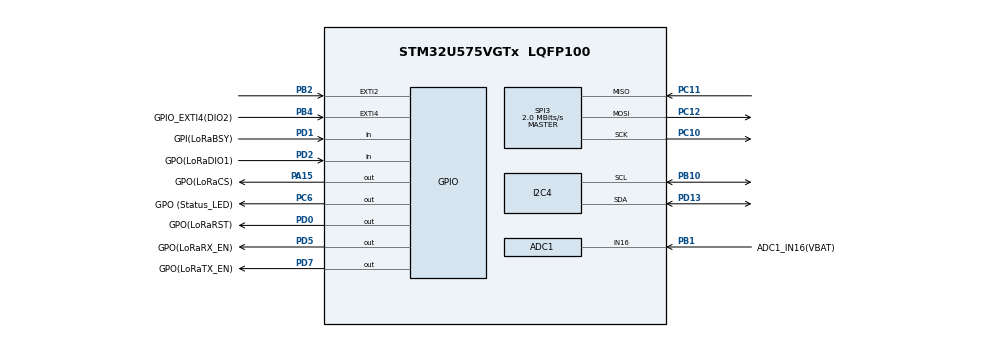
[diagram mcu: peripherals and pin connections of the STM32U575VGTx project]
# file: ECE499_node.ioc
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ADC1.Channel-0\#ChannelRegularConversion=ADC_CHANNEL_16
ADC1.EnableRegularConversion=ENABLE
ADC1.MonitoredBy-0\#ChannelRegularConversion=__NULL
ADC1.NbrOfConversion=1
ADC1.NbrOfConversionFlag=1
ADC1.OffsetNumber-0\#ChannelRegularConversion=ADC_OFFSET_NONE
ADC1.Rank-0\#ChannelRegularConversion=1
ADC1.Ratio1=1
ADC1.SamplingTime-0\#ChannelRegularConversion=ADC_SAMPLETIME_5CYCLE
ADC1.master=1
CORTEX_M33_NS.userName=CORTEX_M33
I2C4.Timing=0x00000E14
LPTIM1.ClockPrescaler=LPTIM_PRESCALER_DIV8
LPTIM1.Period=21845
Mcu.Family=STM32U5
Mcu.Name=STM32U575VGTx
Mcu.Package=LQFP100
NVIC.EXTI2_IRQn=true\:0\:0\:false\:false\:true\:true\:true\:true
NVIC.EXTI4_IRQn=true\:0\:0\:false\:false\:true\:true\:true\:true
NVIC.LPTIM1_IRQn=true\:0\:0\:false\:false\:true\:true\:true\:true
NVIC.PriorityGroup=NVIC_PRIORITYGROUP_4
PA13\ (JTMS/SWDIO).Mode=Serial_Wire
PA13\ (JTMS/SWDIO).Signal=DEBUG_JTMS-SWDIO
PA14\ (JTCK/SWCLK).Mode=Serial_Wire
PA14\ (JTCK/SWCLK).Signal=DEBUG_JTCK-SWCLK
PA15\ (JTDI).GPIO_Label=GPO(LoRaCS)
PA15\ (JTDI).Signal=GPIO_Output
PB1.GPIO_Label=ADC1_IN16(VBAT)
PB1.Mode=IN16-Single-Ended
PB1.Signal=ADC1_IN16
PB10.Mode=I2C
PB10.Signal=I2C4_SCL
PB2.GPIO_ModeDefaultEXTI=GPIO_MODE_IT_FALLING
PB2.Signal=GPXTI2
PB4\ (NJTRST).GPIO_Label=GPIO_EXTI4(DIO2)
PB4\ (NJTRST).GPIO_ModeDefaultEXTI=GPIO_MODE_IT_RISING_FALLING
PB4\ (NJTRST).Signal=GPXTI4
PC10.Mode=Full_Duplex_Master
PC10.Signal=SPI3_SCK
PC11.Mode=Full_Duplex_Master
PC11.Signal=SPI3_MISO
PC12.Mode=Full_Duplex_Master
PC12.Signal=SPI3_MOSI
PC6.GPIO_Label=GPO (Status_LED)
PC6.PinState=GPIO_PIN_SET
PC6.Signal=GPIO_Output
PD0.GPIO_Label=GPO(LoRaRST)
PD0.Signal=GPIO_Output
PD1.GPIO_Label=GPI(LoRaBSY)
PD1.Signal=GPIO_Input
PD13.Mode=I2C
PD13.Signal=I2C4_SDA
PD2.GPIO_Label=GPO(LoRaDIO1)
PD2.Signal=GPIO_Input
PD5.GPIO_Label=GPO(LoRaRX_EN)
PD5.Signal=GPIO_Output
PD7.GPIO_Label=GPO(LoRaTX_EN)
PD7.Signal=GPIO_Output
PWR.DMA2DPowerDownInStopMode=__NULL
PWR.Dcache1PowerDownInStopMode=__NULL
PWR.IcachePowerDownInStopMode=__NULL
PWR.PKA32RAMPowerDownInStopMode=PWR_PKA32RAM_FULL_STOP_RETENTION
ProjectManager.HeapSize=0x200
ProjectManager.StackSize=0x400
ProjectManager.TargetToolchain=CMake
RCC.ADCFreq_Value=16000000
RCC.EPOD_VALUE=4000000
RCC.HSE_VALUE=16000000
RCC.HSI48_VALUE=48000000
RCC.HSI_VALUE=16000000
RCC.LPTIM1CLockSelectionVirtual=RCC_LPTIM1CLKSOURCE_LSI
RCC.LPTIM2CLockSelectionVirtual=RCC_LPTIM2CLKSOURCE_LSI
RCC.LSE_VALUE=32768
RCC.LSIDIV_VALUE=32000
RCC.MSI_VALUE=4000000
RCC.USBFreq_Value=48000000
RCC.VCOOutputFreq_Value=516000000
SPI3.CalculateBaudRate=2.0 MBits/s
SPI3.Direction=SPI_DIRECTION_2LINES
SPI3.Mode=SPI_MODE_MASTER
SPI3.VirtualType=VM_MASTER
VP_DCACHE1_VS_DCACHE.Mode=DCACHE_Activate
VP_ICACHE_VS_ENABLE_ICACHE_MEMORY.Mode=Memoryregions
VP_ICACHE_VS_ICACHE.Mode=DefaultMode
VP_LPBAMQUEUE_VS_QUEUE.Mode=QUEUEMODE
VP_LPBAM_VS_SIG1.Mode=SmartRun
VP_LPBAM_VS_SIG4.Mode=LPDMA1
VP_LPTIM1_VS_LPTIM_counterModeInternalClock.Mode=Counts__internal_clock_event_00
VP_MEMORYMAP_VS_MEMORYMAP.Mode=CurAppReg
VP_PWR_VS_LPOM.Mode=PowerOptimisation
VP_PWR_VS_SECSignals.Mode=Security/Privilege
VP_PWR_Vdda.Mode=isolationVdda
board=custom

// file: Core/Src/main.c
/* USER CODE BEGIN Header */
/**
  ******************************************************************************
  * @file           : main.c
  * @brief          : Main program body
  ******************************************************************************
  * @attention
  *
  * Copyright (c) 2026 STMicroelectronics.
  * All rights reserved.
  *
  * This software is licensed under terms that can be found in the LICENSE file
  * in the root directory of this software component.
  * If no LICENSE file comes with this software, it is provided AS-IS.
  *
  ******************************************************************************
  */
/* USER CODE END Header */
#include "main.h"
#include "adc.h"
#include "dcache.h"
#include "i2c.h"
#include "icache.h"
#include "lptim.h"
#include "spi.h"
#include "gpio.h"

/* USER CODE BEGIN Includes */
#include "scd40_driver.h"
#include "bme680_defs.h"
#include "bme680_driver.h"
#include <bsec_datatypes.h>
#include <stdint.h>
#include <stdbool.h>
#include <stddef.h>
#include <string.h>

#include "stm32u575xx.h"
#include "stm32u5xx_hal.h"
#include "stm32u5xx_hal_gpio.h"
#include "stm32u5xx_hal_lptim.h"
#include "sx126x.h"
#include "uart_logs.h"
#include "lora_link.h"
/* USER CODE END Includes */

/* USER CODE BEGIN PD */
#define SENSOR_WAIT_TIMEOUT_MS (200)
#define LPTIM_PERIOD (5000)
#define PAYLOAD_LEN           (LORA_LINK_PAYLOAD_LEN)
#define ADC_CODE_MAX (1 << 14)
#define NODE_ID (3)

/*
 * Radio configuration.
 *
 * Everything the gateway also has to agree on -- frequency, SF, bandwidth,
 * coding rate, preamble, sync word -- comes from shared/lora_link.h and must
 * be changed there, not here. Only settings local to this board live below.
 *
 * The TCXO settings describe the crystal on the Waveshare module, wired to
 * DIO3. RADIO_TCXO_VOLTAGE takes an sx126x_tcxo_ctrl_voltages_t
 * (e.g. SX126X_TCXO_CTRL_1_7) and RADIO_TCXO_STARTUP_MS is how long the TCXO
 * needs to settle before the PLL may use it.
 */
#define RADIO_FREQ_HZ (LORA_LINK_FREQ_HZ)
#define RADIO_TX_POWER_DBM (-9)
#define RADIO_TCXO_VOLTAGE SX126X_TCXO_CTRL_1_7V
#define RADIO_TCXO_STARTUP_MS (5)
#define RADIO_TX_TIMEOUT_MS   (5000)
/* USER CODE END PD */

void SystemClock_Config(void);
static void SystemPower_Config(void);

/* USER CODE BEGIN 0 */

// sx1262_hal.c talks to a single hard-wired radio and ignores the context
// argument, so there is nothing to point this at.
static const void *radio_ctx = NULL;

// The sx126x enums encode SF as its own numeric value and CR as (denominator -
// 4), so the shared link constants can be checked against the enums the driver
// actually wants at compile time rather than trusted to stay in step.
_Static_assert(SX126X_LORA_SF7 == LORA_LINK_SF,
               "SF disagrees with shared/lora_link.h");
_Static_assert(SX126X_LORA_CR_4_7 + 4 == LORA_LINK_CR_DENOM,
               "coding rate disagrees with shared/lora_link.h");
_Static_assert(LORA_LINK_EXPLICIT_HDR && LORA_LINK_CRC_ON && !LORA_LINK_INVERT_IQ,
               "packet params below no longer match shared/lora_link.h");

static sx126x_pkt_params_lora_t radio_pkt_params = {
    .preamble_len_in_symb = LORA_LINK_PREAMBLE_SYMB,
    .header_type          = SX126X_LORA_PKT_EXPLICIT,
    .pld_len_in_bytes     = 0,  // set per packet in radio_transmit()
    .crc_is_on            = true,
    .invert_iq_is_on      = false,
};

// Brings the radio from power-on to "configured, in standby, ready to be
// handed a payload". Returns false at the first command the chip rejects.
static bool radio_init(void)
{
    // Must stay in step with shared/lora_link.h; the _Static_asserts above
    // cover sf and cr, and BW_125 is the enum for LORA_LINK_BW_KHZ.
    const sx126x_mod_params_lora_t mod_params = {
        .sf   = SX126X_LORA_SF7,
        .bw   = SX126X_LORA_BW_125,
        .cr   = SX126X_LORA_CR_4_7,
        .ldro = 0,  // only needed when symbol time exceeds 16ms (SF11/SF12 at BW125)
    };

//configure PA max for +14dbm
const sx126x_pa_cfg_params_t pa_cfg = {
  .pa_duty_cycle = 0x02,
  .hp_max        = 0x02,
  .device_sel    = 0x00,   // still the SX1262 PA
  .pa_lut        = 0x01,
};

    if (sx126x_reset(radio_ctx) != SX126X_STATUS_OK) return false;
    if (sx126x_set_standby(radio_ctx, SX126X_STANDBY_CFG_RC) != SX126X_STATUS_OK) return false;

    // The Waveshare module clocks the chip from a TCXO powered off DIO3, which
    // means the chip booted on a crystal that is not there. Every block
    // calibrated at boot has to be recalibrated once the TCXO is running.
    if (sx126x_set_dio3_as_tcxo_ctrl(radio_ctx, RADIO_TCXO_VOLTAGE,
                                     sx126x_convert_timeout_in_ms_to_rtc_step(RADIO_TCXO_STARTUP_MS))
        != SX126X_STATUS_OK) return false;
    if (sx126x_cal(radio_ctx, SX126X_CAL_ALL) != SX126X_STATUS_OK) return false;

    if (sx126x_set_dio2_as_rf_sw_ctrl(radio_ctx, true) != SX126X_STATUS_OK) return false;
    if (sx126x_set_reg_mode(radio_ctx, SX126X_REG_MODE_DCDC) != SX126X_STATUS_OK) return false;

    if (sx126x_set_pkt_type(radio_ctx, SX126X_PKT_TYPE_LORA) != SX126X_STATUS_OK) return false;
    if (sx126x_set_rf_freq(radio_ctx, RADIO_FREQ_HZ) != SX126X_STATUS_OK) return false;
    if (sx126x_cal_img_in_mhz(radio_ctx, RADIO_FREQ_HZ / 1000000, RADIO_FREQ_HZ / 1000000)
        != SX126X_STATUS_OK) return false;

    if (sx126x_set_pa_cfg(radio_ctx, &pa_cfg) != SX126X_STATUS_OK) return false;
    // SX1262 errata 15.2: the TX clamp must be reconfigured after set_pa_cfg.
    if (sx126x_cfg_tx_clamp(radio_ctx) != SX126X_STATUS_OK) return false;
    if (sx126x_set_tx_params(radio_ctx, RADIO_TX_POWER_DBM, SX126X_RAMP_200_US) != SX126X_STATUS_OK) return false;

    if (sx126x_set_buffer_base_address(radio_ctx, 0, 0) != SX126X_STATUS_OK) return false;
    if (sx126x_set_lora_mod_params(radio_ctx, &mod_params) != SX126X_STATUS_OK) return false;
    if (sx126x_set_lora_pkt_params(radio_ctx, &radio_pkt_params) != SX126X_STATUS_OK) return false;

    // The chip powers up with this already at 0x1424, so the link happened to
    // work without it, but a receiver only accepts a matching sync word and
    // nothing else here pins the value down. Set it explicitly.
    if (sx126x_set_lora_sync_word(radio_ctx, LORA_LINK_SYNC_WORD) != SX126X_STATUS_OK) return false;

    if (sx126x_set_dio_irq_params(radio_ctx, SX126X_IRQ_TX_DONE | SX126X_IRQ_TIMEOUT,
                                  SX126X_IRQ_TX_DONE | SX126X_IRQ_TIMEOUT, 0, 0) != SX126X_STATUS_OK) return false;

    return true;
}

// Sends one packet and blocks until the chip reports TX_DONE. Polls the IRQ
// register rather than DIO1 so this stays independent of EXTI setup.
static bool radio_transmit(const uint8_t *payload, uint8_t len)
{
    radio_pkt_params.pld_len_in_bytes = len;
    if (sx126x_set_lora_pkt_params(radio_ctx, &radio_pkt_params) != SX126X_STATUS_OK) return false;

    if (sx126x_write_buffer(radio_ctx, 0, payload, len) != SX126X_STATUS_OK) return false;
    if (sx126x_clear_irq_status(radio_ctx, SX126X_IRQ_ALL) != SX126X_STATUS_OK) return false;
    if (sx126x_set_tx(radio_ctx, RADIO_TX_TIMEOUT_MS) != SX126X_STATUS_OK) return false;

    // The chip's own TX timeout should fire first; this bound only keeps a
    // wedged radio from hanging the loop forever.
    uint32_t started = HAL_GetTick();
    while (HAL_GetTick() - started < RADIO_TX_TIMEOUT_MS + 1000)
    {
        sx126x_irq_mask_t irq = 0;
        if (sx126x_get_irq_status(radio_ctx, &irq) != SX126X_STATUS_OK) return false;

        if (irq & SX126X_IRQ_TX_DONE)
        {
            sx126x_clear_irq_status(radio_ctx, SX126X_IRQ_TX_DONE);
            return true;
        }
        if (irq & SX126X_IRQ_TIMEOUT)
        {
            sx126x_clear_irq_status(radio_ctx, SX126X_IRQ_TIMEOUT);
            return false;
        }
    }

    return false;
}

//struct for the scd40 sensor
scd4x_handle_t scd40 = {};
struct bme68x_dev bme680 = {};
bsec_output_t bme680_data[6] = {};
float battery_voltage = 0.0f;
#define BME680_MAX_OUTPUTS ((uint8_t)(sizeof(bme680_data) / sizeof(bme680_data[0])))
uint8_t noutputs = BME680_MAX_OUTPUTS;
uint64_t tick_count = 0;
uint8_t bme_noutputs = 0;
// Packs the latest SCD40 + BME680/BSEC readings into the fixed little-endian
// payload described by shared/lora_link.h. The gateway decodes it from those
// same offsets, so the layout is defined there rather than here.
static void put_u16(uint8_t *out, uint16_t v)
{
    out[0] = (uint8_t)(v & 0xFF);
    out[1] = (uint8_t)(v >> 8);
}

static size_t build_payload(uint8_t *out, const bsec_output_t *bme_outputs, uint8_t n_bme_outputs)
{
    memset(out, 0, PAYLOAD_LEN);

    uint8_t idx = get_scd40_latest_index();
    put_u16(&out[LORA_PL_OFF_SCD_CO2], get_scd40_CO2_readings()[idx]);
    put_u16(&out[LORA_PL_OFF_SCD_TEMP], (int16_t)(get_scd40_temp_readings()[idx] * 100.0f));
    put_u16(&out[LORA_PL_OFF_SCD_HUM], (int16_t)(get_scd40_hum_readings()[idx] * 100.0f));
    put_u16(&out[LORA_PL_OFF_VBATT],(uint16_t)(battery_voltage * 100.0f));
    put_u16(&out[LORA_PL_OFF_NODEID],(uint16_t)(NODE_ID));
    for (uint8_t i = 0; i < n_bme_outputs; i++)
    {
        const bsec_output_t *o = &bme_outputs[i];
        switch (o->sensor_id)
        {
        case BSEC_OUTPUT_CO2_EQUIVALENT:
            put_u16(&out[LORA_PL_OFF_BME_CO2EQ], (uint16_t)o->signal);
            break;
        case BSEC_OUTPUT_BREATH_VOC_EQUIVALENT:
            put_u16(&out[LORA_PL_OFF_BME_VOC], (uint16_t)(o->signal * 100.0f));
            break;
        case BSEC_OUTPUT_SENSOR_HEAT_COMPENSATED_HUMIDITY:
            put_u16(&out[LORA_PL_OFF_BME_HUM], (int16_t)(o->signal * 100.0f));
            break;
        case BSEC_OUTPUT_SENSOR_HEAT_COMPENSATED_TEMPERATURE:
            put_u16(&out[LORA_PL_OFF_BME_TEMP], (int16_t)(o->signal * 100.0f));
            break;
        case BSEC_OUTPUT_RAW_PRESSURE:
            put_u16(&out[LORA_PL_OFF_BME_PRESS], (uint16_t)(o->signal / 10.0f));
            break;
        case BSEC_OUTPUT_STABILIZATION_STATUS:
            out[LORA_PL_OFF_BME_STAB] = (uint8_t)o->signal;
            break;
        default:
            break;
        }
    }

    return PAYLOAD_LEN;
}
//software emulation of shorting DIO2 and RXEN for the lora module together.
/*
- the interrupt is set to trigger on both rising and falling edge
- the interrupt is attached to PB4 (connected to radio module DIO2)
- the callback below reads the state of DIO2 and writes it to PD5 (connected to Lora RXEN)
*/
void HAL_GPIO_EXTI_Rising_Callback(uint16_t GPIO_Pin)
{
  if(GPIO_Pin == GPIO_EXTI4_Pin) {
    GPIO_PinState state = HAL_GPIO_ReadPin(GPIOB,GPIO_EXTI4_Pin);
    HAL_GPIO_WritePin(GPIOD, GPIO_PIN_5, state);
  } else {
      __NOP();
  }
}

void HAL_GPIO_EXTI_Falling_Callback(uint16_t GPIO_Pin)
{
  if(GPIO_Pin == GPIO_EXTI4_Pin) {
    GPIO_PinState state = HAL_GPIO_ReadPin(GPIOB,GPIO_EXTI4_Pin);
    HAL_GPIO_WritePin(GPIOD, GPIO_PIN_5, state);
  } else if(GPIO_Pin==GPIO_PIN_2){
    //flash LED to indicate low battery to user
    HAL_GPIO_TogglePin(GPIOC, GPIO_PIN_6);
  } else {
      __NOP();
  }
}
void HAL_LPTIM_AutoReloadMatchCallback(LPTIM_HandleTypeDef *hlptim)
{
	if(hlptim == &hlptim1)
	{
    //no action needed in callback
    __NOP();
	}
}

void blink_status(int count){
  for(int i = 0; i < count; i++){
    HAL_GPIO_WritePin(GPIOC, GPIO_PIN_6, GPIO_PIN_RESET);
    HAL_Delay(300);
    HAL_GPIO_WritePin(GPIOC, GPIO_PIN_6, GPIO_PIN_SET);
    HAL_Delay(300);
  }
}

/* USER CODE END 0 */

int main(void)
{

  /* MCU Configuration--------------------------------------------------------*/

  /* Reset of all peripherals, Initializes the Flash interface and the Systick. */
  HAL_Init();

  /* USER CODE BEGIN Init */

  dwt_delay_init();
  /* USER CODE END Init */

  /* Configure the System Power */
  SystemPower_Config();

  /* Configure the system clock */
  SystemClock_Config();

  /* Initialize all configured peripherals */
  MX_GPIO_Init();
  MX_ADC1_Init();
  MX_I2C4_Init();
  MX_SPI3_Init();
  MX_DCACHE1_Init();
  MX_ICACHE_Init();
  MX_LPTIM1_Init();
  /* USER CODE BEGIN 2 */
  //status indicator
  for(int i = 0; i < 8; i++){
    HAL_GPIO_WritePin(GPIOC, GPIO_PIN_6,GPIO_PIN_RESET);
    HAL_Delay(100);
    HAL_GPIO_WritePin(GPIOC,  GPIO_PIN_6, GPIO_PIN_SET);
    HAL_Delay(100);
  }
  //initialize the scd40

  int count = 0;
  while(init_scd40(&scd40, 0, 0.0,0.0) != 0){
    blink_status(3);
    HAL_Delay(2000);
    count++;
    if(count > 2){
      break;
    }
  }
  HAL_Delay(100);

  count = 0;
  while(bme680_init(&bme680, BME68X_I2C_INTF) != BSEC_OK){
    blink_status(4);
    HAL_Delay(2000);
    count++;
    if(count > 2){
      break;
    }
  }
  // LoRa radio bring-up. MX_GPIO_Init and MX_SPI1_Init have already set up the
  // pins and the SPI bus the HAL port drives, so the radio can be configured
  // directly from here.

  count = 0;
  while(!radio_init())
  {
    blink_status(5);
    HAL_Delay(2000);
    count++;
    if(count > 2){
      break;
    }
  }
  //calibrate ADC
  HAL_ADCEx_Calibration_Start(&hadc1,ADC_CALIB_OFFSET,ADC_SINGLE_ENDED );
  __HAL_RCC_LPTIM1_CLK_SLEEP_ENABLE();
  __HAL_RCC_LPTIM1_CLKAM_ENABLE();
  tick_count = HAL_GetTick();
  /* USER CODE END 2 */

  /* Infinite loop */
  while (1)
  {

    /* USER CODE BEGIN 3 */
    tick_count += LPTIM_PERIOD;
    // BSEC reads noutputs as the capacity of bme680_data on the way in and
    // overwrites it with the number of outputs it produced, so it has to be
    // reset before every call or the capacity ratchets down.
    noutputs = BME680_MAX_OUTPUTS;
    if (bme680_step(&bme680, bme680_data, &noutputs, tick_count) == BME68X_OK)
    {
        bme_noutputs = noutputs;
    }
    //read scd40
    scd4x_basic_read(&scd40);
    //read the battery voltage
    if(HAL_ADC_Start(&hadc1) == HAL_OK){
        HAL_ADC_PollForConversion(&hadc1, 1000);
        uint32_t adc_code = HAL_ADC_GetValue(&hadc1);
        HAL_ADC_Stop(&hadc1);
        //multiply by two since voltage divider divides actual voltage in half
        battery_voltage = ((adc_code * 3.3f) / ADC_CODE_MAX) * 2.0f;
    };
   HAL_Delay(100);
   uint8_t payload[PAYLOAD_LEN];
   build_payload(payload, bme680_data, bme_noutputs);
   if (radio_transmit(payload, PAYLOAD_LEN))
   {
    blink_status(2);
   }

  /* mask the EXTI wakeup requests, not just the NVIC */
   EXTI->IMR1 &= ~(GPIO_EXTI4_Pin | GPIO_PIN_2);
   __HAL_GPIO_EXTI_CLEAR_IT(GPIO_EXTI4_Pin);
   __HAL_GPIO_EXTI_CLEAR_IT(GPIO_PIN_2);
   HAL_NVIC_ClearPendingIRQ(EXTI4_IRQn);
   HAL_NVIC_ClearPendingIRQ(EXTI2_IRQn);
   HAL_LPTIM_Counter_Start_IT(&hlptim1);
   HAL_SuspendTick();
   HAL_PWREx_EnterSTOP2Mode(PWR_STOPENTRY_WFI);
   SystemClock_Config();
   HAL_ResumeTick();
   HAL_LPTIM_TimeOut_Stop_IT(&hlptim1);

   __HAL_GPIO_EXTI_CLEAR_IT(GPIO_EXTI4_Pin);   /* drop edg*/
   __HAL_GPIO_EXTI_CLEAR_IT(GPIO_PIN_2);
   EXTI->IMR1 |= (GPIO_EXTI4_Pin | GPIO_PIN_2);

  }
  /* USER CODE END 3 */
}

void SystemClock_Config(void)
{
  RCC_OscInitTypeDef RCC_OscInitStruct = {0};
  RCC_ClkInitTypeDef RCC_ClkInitStruct = {0};

  /** Configure the main internal regulator output voltage
  */
  if (HAL_PWREx_ControlVoltageScaling(PWR_REGULATOR_VOLTAGE_SCALE4) != HAL_OK)
  {
    Error_Handler();
  }

  /** Initializes the CPU, AHB and APB buses clocks
  */
  RCC_OscInitStruct.OscillatorType = RCC_OSCILLATORTYPE_HSI|RCC_OSCILLATORTYPE_LSI
                              |RCC_OSCILLATORTYPE_MSI;
  RCC_OscInitStruct.HSIState = RCC_HSI_ON;
  RCC_OscInitStruct.HSICalibrationValue = RCC_HSICALIBRATION_DEFAULT;
  RCC_OscInitStruct.LSIState = RCC_LSI_ON;
  RCC_OscInitStruct.MSIState = RCC_MSI_ON;
  RCC_OscInitStruct.MSICalibrationValue = RCC_MSICALIBRATION_DEFAULT;
  RCC_OscInitStruct.MSIClockRange = RCC_MSIRANGE_4;
  RCC_OscInitStruct.LSIDiv = RCC_LSI_DIV1;
  RCC_OscInitStruct.PLL.PLLState = RCC_PLL_NONE;
  if (HAL_RCC_OscConfig(&RCC_OscInitStruct) != HAL_OK)
  {
    Error_Handler();
  }

  /** Initializes the CPU, AHB and APB buses clocks
  */
  RCC_ClkInitStruct.ClockType = RCC_CLOCKTYPE_HCLK|RCC_CLOCKTYPE_SYSCLK
                              |RCC_CLOCKTYPE_PCLK1|RCC_CLOCKTYPE_PCLK2
                              |RCC_CLOCKTYPE_PCLK3;
  RCC_ClkInitStruct.SYSCLKSource = RCC_SYSCLKSOURCE_MSI;
  RCC_ClkInitStruct.AHBCLKDivider = RCC_SYSCLK_DIV1;
  RCC_ClkInitStruct.APB1CLKDivider = RCC_HCLK_DIV1;
  RCC_ClkInitStruct.APB2CLKDivider = RCC_HCLK_DIV1;
  RCC_ClkInitStruct.APB3CLKDivider = RCC_HCLK_DIV1;

  if (HAL_RCC_ClockConfig(&RCC_ClkInitStruct, FLASH_LATENCY_0) != HAL_OK)
  {
    Error_Handler();
  }
}

/**
  * @brief Power Configuration
  * @retval None
  */
static void SystemPower_Config(void)
{

  /*
   * SRAM Power Down In Stop Mode Config
   */
  HAL_PWREx_DisableRAMsContentStopRetention(PWR_PKA32RAM_FULL_STOP_RETENTION);
}

void Error_Handler(void)
{
  __disable_irq();
  while (1)
  {
  }
}
